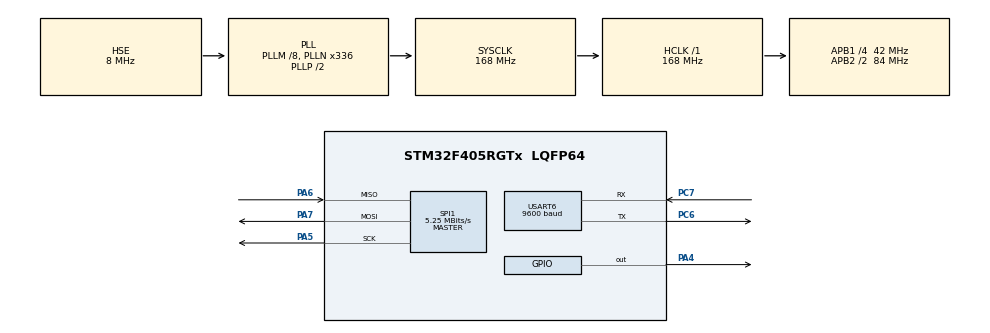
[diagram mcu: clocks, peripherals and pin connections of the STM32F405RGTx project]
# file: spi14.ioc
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Mcu.Family=STM32F4
Mcu.Name=STM32F405RGTx
Mcu.Package=LQFP64
NVIC.PriorityGroup=NVIC_PRIORITYGROUP_4
NVIC.TIM4_IRQn=true\:0\:0\:false\:false\:true\:true\:true
NVIC.USART6_IRQn=true\:0\:0\:false\:false\:true\:true\:true
PA13.Mode=Serial_Wire
PA13.Signal=SYS_JTMS-SWDIO
PA14.Mode=Serial_Wire
PA14.Signal=SYS_JTCK-SWCLK
PA4.GPIO_PuPd=GPIO_PULLUP
PA4.PinState=GPIO_PIN_SET
PA4.Signal=GPIO_Output
PA5.Mode=Full_Duplex_Master
PA5.Signal=SPI1_SCK
PA6.Mode=Full_Duplex_Master
PA6.Signal=SPI1_MISO
PA7.Mode=Full_Duplex_Master
PA7.Signal=SPI1_MOSI
PC6.Mode=Asynchronous
PC6.Signal=USART6_TX
PC7.Mode=Asynchronous
PC7.Signal=USART6_RX
PH0-OSC_IN.Mode=HSE-External-Oscillator
PH0-OSC_IN.Signal=RCC_OSC_IN
PH1-OSC_OUT.Mode=HSE-External-Oscillator
PH1-OSC_OUT.Signal=RCC_OSC_OUT
ProjectManager.HeapSize=0x200
ProjectManager.StackSize=0x400
ProjectManager.TargetToolchain=MDK-ARM V5
RCC.48MHZClocksFreq_Value=84000000
RCC.AHBFreq_Value=168000000
RCC.APB1CLKDivider=RCC_HCLK_DIV4
RCC.APB1Freq_Value=42000000
RCC.APB1TimFreq_Value=84000000
RCC.APB2CLKDivider=RCC_HCLK_DIV2
RCC.APB2Freq_Value=84000000
RCC.APB2TimFreq_Value=168000000
RCC.CortexFreq_Value=168000000
RCC.HCLKFreq_Value=168000000
RCC.HSE_VALUE=8000000
RCC.HSI_VALUE=16000000
RCC.LSE_VALUE=32768
RCC.PLLM=8
RCC.PLLN=336
RCC.PLLSourceVirtual=RCC_PLLSOURCE_HSE
RCC.SYSCLKFreq_VALUE=168000000
RCC.SYSCLKSource=RCC_SYSCLKSOURCE_PLLCLK
RCC.VCOOutputFreq_Value=336000000
SPI1.BaudRatePrescaler=SPI_BAUDRATEPRESCALER_16
SPI1.CalculateBaudRate=5.25 MBits/s
SPI1.Direction=SPI_DIRECTION_2LINES
SPI1.Mode=SPI_MODE_MASTER
SPI1.VirtualType=VM_MASTER
TIM4.Period=999
TIM4.Prescaler=83
USART6.BaudRate=9600
USART6.VirtualMode=VM_ASYNC
VP_TIM4_VS_ClockSourceINT.Mode=Internal
board=custom

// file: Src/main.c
/* USER CODE BEGIN Header */
/**
  ******************************************************************************
  * @file           : main.c
  * @brief          : Main program body
  ******************************************************************************
  * @attention
  *
  * <h2><center>&copy; Copyright (c) 2021 STMicroelectronics.
  * All rights reserved.</center></h2>
  *
  * This software component is licensed by ST under BSD 3-Clause license,
  * the "License"; You may not use this file except in compliance with the
  * License. You may obtain a copy of the License at:
  *                        opensource.org/licenses/BSD-3-Clause
  *
  ******************************************************************************
  */
/* USER CODE END Header */
#include "main.h"
#include "spi.h"
#include "tim.h"
#include "usart.h"
#include "gpio.h"

/* USER CODE BEGIN Includes */
#include "math.h"
#include "calculation.h"

int g_cntTim4;    //TIM4计时次数

int g_time = 0;   //计算启用时钟

int g_angleXoutOn = 0;//x轴角度计算开关 1开0关
int g_angleXoutTrig = 0;//x轴角度重置扳机
int g_angleYoutOn = 0;//y轴角度计算开关 1开0关
int g_angleYoutTrig = 0;//y轴角度重置扳机
int g_angleZoutOn = 0;//z轴角度计算开关 1开0关
int g_angleZoutTrig = 0;//z轴角度重置扳机

float g_accelXoutReceive;//x轴加速度
float g_accelYoutReceive;//y轴加速度
float g_accelZoutReceive;//z轴加速度
float g_tempOutReceive;  //温度
float g_gypoXoutReceive; //x轴角速度
float g_gypoYoutReceive; //y轴角速度
float g_gypoZoutReceive; //z轴角速度

float g_angleXout = 0;//x轴角度
float g_angleYout = 0;//y轴角度
float g_angleZout = 0;//z轴角度

float g_accelXoutAverage = 0;
float g_accelYoutAverage = 0;
float g_accelZoutAverage = 0;
float g_tempOutAverage = 0;
float g_gypoXoutAverage = 0;
float g_gypoYoutAverage = 0;
float g_gypoZoutAverage = 0;

float dataTable[500][7];
/* USER CODE END Includes */

/* USER CODE BEGIN PTD */
float test_0[1];
int test;
uint8_t rxSheet[14];
float dataSheetFloat[7];
char dataAll[150];
int len_0 = 0;
/* USER CODE END PTD */

void SystemClock_Config(void);

int main(void)
{

  /* MCU Configuration--------------------------------------------------------*/

  /* Reset of all peripherals, Initializes the Flash interface and the Systick. */
  HAL_Init();

  /* Configure the system clock */
  SystemClock_Config();

  /* Initialize all configured peripherals */
  MX_GPIO_Init();
  MX_SPI1_Init();
  MX_TIM4_Init();
  MX_USART6_UART_Init();
  /* USER CODE BEGIN 2 */
  HAL_TIM_Base_Start_IT(&htim4);
  /* USER CODE END 2 */
	ICM_Command_Write(&hspi1, GPIOA, GPIO_PIN_4);
  /* Infinite loop */
  /* USER CODE BEGIN WHILE */
  while (1)
  {
		if(g_angleZoutTrig == 0)
		{
			ICM_Value_Anverage();
		  g_angleZoutOn = 1;
			g_angleZoutTrig = 1;
		}
		ICM_Value_Read(g_cntTim4, 2, &hspi1, GPIOA, GPIO_PIN_4, rxSheet, dataSheetFloat);

		test_0[0] = g_angleZout;

		Transfer_Sending(&huart6, 2, g_cntTim4, 1, test_0, dataAll);

		HAL_Delay(50);

    /* USER CODE END WHILE */

  }
}

void SystemClock_Config(void)
{
  RCC_OscInitTypeDef RCC_OscInitStruct = {0};
  RCC_ClkInitTypeDef RCC_ClkInitStruct = {0};

  /** Configure the main internal regulator output voltage
  */
  __HAL_RCC_PWR_CLK_ENABLE();
  __HAL_PWR_VOLTAGESCALING_CONFIG(PWR_REGULATOR_VOLTAGE_SCALE1);
  /** Initializes the RCC Oscillators according to the specified parameters
  * in the RCC_OscInitTypeDef structure.
  */
  RCC_OscInitStruct.OscillatorType = RCC_OSCILLATORTYPE_HSE;
  RCC_OscInitStruct.HSEState = RCC_HSE_ON;
  RCC_OscInitStruct.PLL.PLLState = RCC_PLL_ON;
  RCC_OscInitStruct.PLL.PLLSource = RCC_PLLSOURCE_HSE;
  RCC_OscInitStruct.PLL.PLLM = 8;
  RCC_OscInitStruct.PLL.PLLN = 336;
  RCC_OscInitStruct.PLL.PLLP = RCC_PLLP_DIV2;
  RCC_OscInitStruct.PLL.PLLQ = 4;
  if (HAL_RCC_OscConfig(&RCC_OscInitStruct) != HAL_OK)
  {
    Error_Handler();
  }
  /** Initializes the CPU, AHB and APB buses clocks
  */
  RCC_ClkInitStruct.ClockType = RCC_CLOCKTYPE_HCLK|RCC_CLOCKTYPE_SYSCLK
                              |RCC_CLOCKTYPE_PCLK1|RCC_CLOCKTYPE_PCLK2;
  RCC_ClkInitStruct.SYSCLKSource = RCC_SYSCLKSOURCE_PLLCLK;
  RCC_ClkInitStruct.AHBCLKDivider = RCC_SYSCLK_DIV1;
  RCC_ClkInitStruct.APB1CLKDivider = RCC_HCLK_DIV4;
  RCC_ClkInitStruct.APB2CLKDivider = RCC_HCLK_DIV2;

  if (HAL_RCC_ClockConfig(&RCC_ClkInitStruct, FLASH_LATENCY_5) != HAL_OK)
  {
    Error_Handler();
  }
}

void Error_Handler(void)
{
  __disable_irq();
  while (1)
  {
  }
}

/************************ (C) COPYRIGHT STMicroelectronics *****END OF FILE****/
